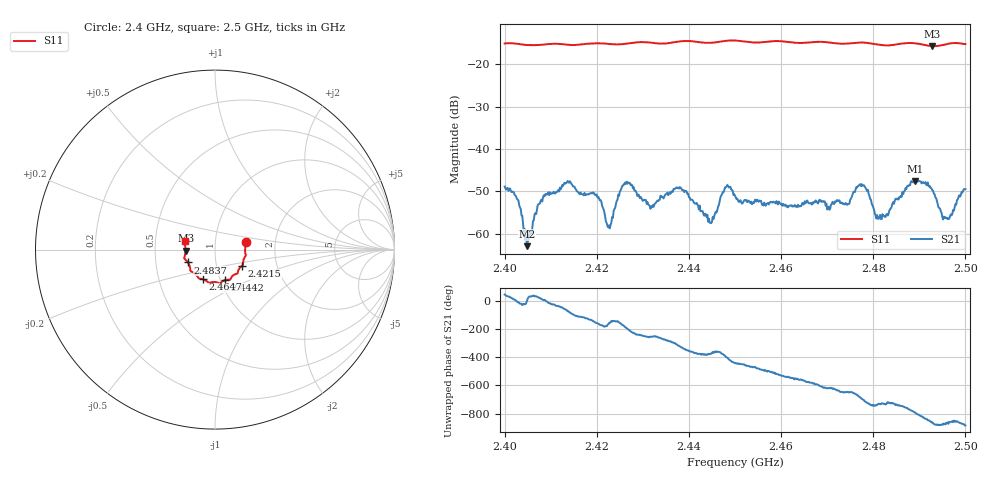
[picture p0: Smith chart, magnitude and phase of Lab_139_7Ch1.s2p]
# Hz S RI R 50
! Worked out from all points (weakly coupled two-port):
!   601 points, 2.4 GHz to 2.5 GHz, reference 50 ohm
!   highest |S21| = -47.51 dB at 2.4892 GHz (marker M1); lowest = -62.9 dB at 2.4048 GHz (marker M2)
!   lowest |S11| = -15.7 dB at 2.4928 GHz (marker M3), VSWR 1.39, Z = 35.9 - j0.386 ohm
!   |S11| at or under -10 dB: start of sweep to end of sweep
!   S12 and S22 are empty: the file has one direction only
!   S11 on the Smith chart (normalised r, x): 2.4 GHz: 1.41, +0.12; 2.4215 GHz: 1.33, -0.25; 2.4442 GHz: 1.05, -0.37; 2.4647 GHz: 0.83, -0.28; 2.4837 GHz: 0.73, -0.11; 2.5 GHz: 0.71, +0.07
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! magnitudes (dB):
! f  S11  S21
! 2.4 GHz  -15.1  -48.8
! 2.4025 GHz  -15.1  -51.2
! 2.4048 GHz  -15.5  -62.9
! 2.409 GHz  -15.3  -50.6
! 2.4167 GHz  -15.3  -50.6
! 2.4215 GHz  -15.1  -54.3
! 2.4228 GHz  -15.2  -58.7
! 2.4267 GHz  -15.1  -48.2
! 2.4333 GHz  -15.1  -52.3
! 2.4378 GHz  -14.6  -49.3
! 2.4442 GHz  -15.0  -57.1
! 2.45 GHz  -14.4  -51.0
! 2.4647 GHz  -15.0  -52.7
! 2.4667 GHz  -14.8  -53.1
! 2.4775 GHz  -14.9  -48.3
! 2.4808 GHz  -15.3  -55.6
! 2.4833 GHz  -15.6  -55.3
! 2.4837 GHz  -15.5  -54.2
! 2.4892 GHz  -15.1  -47.5
! 2.4928 GHz  -15.7  -49.7
! 2.496 GHz  -15.2  -56.4
! 2.5 GHz  -15.3  -49.5
